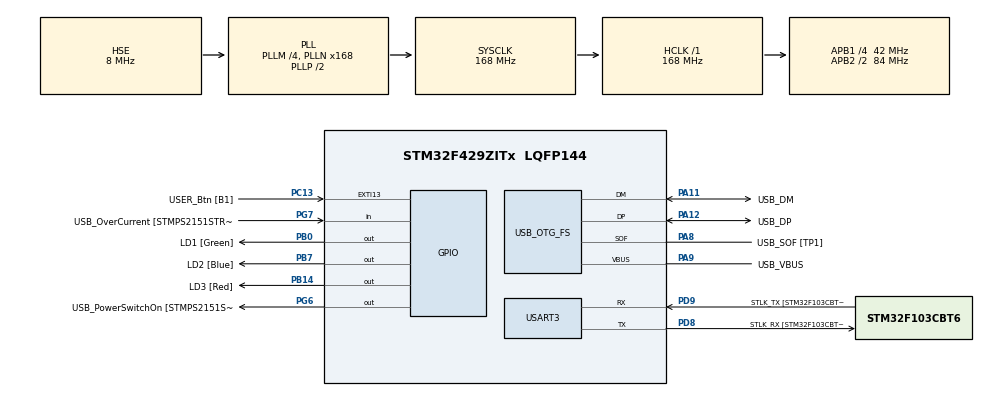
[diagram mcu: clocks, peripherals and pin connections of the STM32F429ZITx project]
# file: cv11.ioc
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Mcu.Family=STM32F4
Mcu.Name=STM32F429ZITx
Mcu.Package=LQFP144
NVIC.OTG_FS_IRQn=true\:0\:0\:false\:false\:true\:false\:true\:true
NVIC.PriorityGroup=NVIC_PRIORITYGROUP_4
PA1.GPIO_Label=RMII_REF_CLK [LAN8742A-CZ-TR_REFCLK0]
PA1.Signal=ETH_REF_CLK
PA10.GPIO_Label=USB_ID
PA10.Signal=USB_OTG_FS_ID
PA11.GPIO_Label=USB_DM
PA11.Mode=Device_Only
PA11.Signal=USB_OTG_FS_DM
PA12.GPIO_Label=USB_DP
PA12.Mode=Device_Only
PA12.Signal=USB_OTG_FS_DP
PA13.GPIO_Label=TMS
PA13.Mode=Serial_Wire
PA13.Signal=SYS_JTMS-SWDIO
PA14.GPIO_Label=TCK
PA14.Mode=Serial_Wire
PA14.Signal=SYS_JTCK-SWCLK
PA2.GPIO_Label=RMII_MDIO [LAN8742A-CZ-TR_MDIO]
PA2.Signal=ETH_MDIO
PA7.GPIO_Label=RMII_CRS_DV [LAN8742A-CZ-TR_CRS_DV]
PA7.Signal=ETH_CRS_DV
PA8.GPIO_Label=USB_SOF [TP1]
PA8.Mode=Activate_SOF_FS
PA8.Signal=USB_OTG_FS_SOF
PA9.GPIO_Label=USB_VBUS
PA9.Mode=Activate_VBUS
PA9.Signal=USB_OTG_FS_VBUS
PB0.GPIO_Label=LD1 [Green]
PB0.Signal=GPIO_Output
PB13.GPIO_Label=RMII_TXD1 [LAN8742A-CZ-TR_TXD1]
PB13.Signal=ETH_TXD1
PB14.GPIO_Label=LD3 [Red]
PB14.Signal=GPIO_Output
PB7.GPIO_Label=LD2 [Blue]
PB7.Signal=GPIO_Output
PC1.GPIO_Label=RMII_MDC [LAN8742A-CZ-TR_MDC]
PC1.Signal=ETH_MDC
PC13.GPIO_Label=USER_Btn [B1]
PC13.Signal=GPXTI13
PC14/OSC32_IN.Mode=LSE-External-Oscillator
PC14/OSC32_IN.Signal=RCC_OSC32_IN
PC15/OSC32_OUT.Mode=LSE-External-Oscillator
PC15/OSC32_OUT.Signal=RCC_OSC32_OUT
PC4.GPIO_Label=RMII_RXD0 [LAN8742A-CZ-TR_RXD0]
PC4.Signal=ETH_RXD0
PC5.GPIO_Label=RMII_RXD1 [LAN8742A-CZ-TR_RXD1]
PC5.Signal=ETH_RXD1
PD8.GPIO_Label=STLK_RX [STM32F103CBT6_PA3]
PD8.Mode=Asynchronous
PD8.Signal=USART3_TX
PD9.GPIO_Label=STLK_TX [STM32F103CBT6_PA2]
PD9.Mode=Asynchronous
PD9.Signal=USART3_RX
PG11.GPIO_Label=RMII_TX_EN [LAN8742A-CZ-TR_TXEN]
PG11.Signal=ETH_TX_EN
PG13.GPIO_Label=RMII_TXD0 [LAN8742A-CZ-TR_TXD0]
PG13.Signal=ETH_TXD0
PG6.GPIO_Label=USB_PowerSwitchOn [STMPS2151STR_EN]
PG6.Signal=GPIO_Output
PG7.GPIO_Label=USB_OverCurrent [STMPS2151STR_FAULT]
PG7.Signal=GPIO_Input
PH0/OSC_IN.GPIO_Label=MCO [STM32F103CBT6_PA8]
PH0/OSC_IN.Mode=HSE-External-Clock-Source
PH0/OSC_IN.Signal=RCC_OSC_IN
PH1/OSC_OUT.Mode=HSE-External-Clock-Source
PH1/OSC_OUT.Signal=RCC_OSC_OUT
ProjectManager.HeapSize=0x200
ProjectManager.StackSize=0x400
ProjectManager.TargetToolchain=STM32CubeIDE
RCC.48MHZClocksFreq_Value=48000000
RCC.AHBFreq_Value=168000000
RCC.APB1CLKDivider=RCC_HCLK_DIV4
RCC.APB1Freq_Value=42000000
RCC.APB1TimFreq_Value=84000000
RCC.APB2CLKDivider=RCC_HCLK_DIV2
RCC.APB2Freq_Value=84000000
RCC.APB2TimCLKDivider=2
RCC.APB2TimFreq_Value=168000000
RCC.CortexFreq_Value=168000000
RCC.HCLKFreq_Value=168000000
RCC.HSE_VALUE=8000000
RCC.HSI_VALUE=16000000
RCC.PLLM=4
RCC.PLLMUL=RCC_PLL_MUL9
RCC.PLLN=168
RCC.PLLQ=7
RCC.PRESCALERUSB=RCC_USBCLKSOURCE_PLL_DIV1_5
RCC.SYSCLKFreq_VALUE=168000000
RCC.SYSCLKSource=RCC_SYSCLKSOURCE_PLLCLK
RCC.SYSCLKSourceVirtual=RCC_SYSCLKSOURCE_PLLCLK
RCC.USBFreq_Value=48000000
RCC.VCOOutputFreq_Value=336000000
USART3.VirtualMode=VM_ASYNC
USB_DEVICE.CLASS_NAME_FS=HID
USB_DEVICE.VirtualMode-HID_FS=Hid
USB_DEVICE.VirtualModeFS=Hid_FS
USB_OTG_FS.VirtualMode=Device_Only
VP_USB_DEVICE_VS_USB_DEVICE_HID_FS.Mode=HID_FS
board=NUCLEO-F429ZI

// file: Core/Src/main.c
/* USER CODE BEGIN Header */
/**
  ******************************************************************************
  * @file           : main.c
  * @brief          : Main program body
  ******************************************************************************
  * @attention
  *
  * Copyright (c) 2023 STMicroelectronics.
  * All rights reserved.
  *
  * This software is licensed under terms that can be found in the LICENSE file
  * in the root directory of this software component.
  * If no LICENSE file comes with this software, it is provided AS-IS.
  *
  ******************************************************************************
  */
/* USER CODE END Header */
#include "main.h"
#include "usb_device.h"

/* USER CODE BEGIN Includes */
#include "usbd_hid.h"
#include "math.h"
#include "stdbool.h"

/* USER CODE END Includes */

/* USER CODE BEGIN PD */
//#define PI_MOJE 3.1415926

/* USER CODE END PD */

UART_HandleTypeDef huart3;

/* USER CODE BEGIN PV */
extern USBD_HandleTypeDef hUsbDeviceFS;

/* USER CODE END PV */

void SystemClock_Config(void);
static void MX_GPIO_Init(void);
static void MX_USART3_UART_Init(void);

/* USER CODE BEGIN 0 */
void send_mouse(int8_t deltaX, int8_t deltaY, int8_t tlac){
	uint8_t buff[4];
	if (tlac == 1){
		buff[0] = 0x01; // stiskni leve tlacitko
	}
	else {
		buff[0] = 0x00;
	}
	buff[1] = deltaX; // posun X +10
	buff[2] = deltaY; // posun Y -3
	buff[3] = 0; // bez scrollu
	USBD_HID_SendReport(&hUsbDeviceFS, buff, sizeof(buff));
	HAL_Delay(USBD_HID_GetPollingInterval(&hUsbDeviceFS));
}

void circle(uint32_t radius, uint32_t start, uint32_t stop){
	uint32_t step = 50;
	float y, x;
	uint32_t sx, sy, dx, dy;
	sx = radius;
	sy = 0;

	for (uint8_t i = start; i <= stop; i++){
		float phi = 2*M_PI*i/step;
		y = radius*sinf(phi);
		x = radius*cosf(phi);
		dx = x - sx;
		dy = y - sy;
		send_mouse(dx, dy, 1);
		sx += dx;
		sy += dy;
//			send_mouse(x, y);
		send_mouse(x, y, 0);
	}
}

/* USER CODE END 0 */

int main(void)
{

  /* MCU Configuration--------------------------------------------------------*/

  /* Reset of all peripherals, Initializes the Flash interface and the Systick. */

	HAL_Init();

  /* Configure the system clock */
  SystemClock_Config();

  /* Initialize all configured peripherals */
  MX_GPIO_Init();
  MX_USART3_UART_Init();
  MX_USB_DEVICE_Init();

  /* Infinite loop */
  while (1)
  {
	  if (HAL_GPIO_ReadPin(USER_Btn_GPIO_Port, USER_Btn_Pin)){
		  circle(10, 0, 50); //velky kolo
		  send_mouse(15, 15, 0);
		  circle(3, 0, 50); //pravz oko
		  send_mouse(-40, 0, 0);
		  circle(3, 0, 50); //levz oko
		  send_mouse(20, -20, 0);
		  send_mouse(0, 25, 1); //nosik
		  send_mouse(0, 25, 0);
		  send_mouse(20, 10, 0);
		  circle(8, 20, 30); //pussik
	  }

  }
}

void SystemClock_Config(void)
{
  RCC_OscInitTypeDef RCC_OscInitStruct = {0};
  RCC_ClkInitTypeDef RCC_ClkInitStruct = {0};

  /** Configure the main internal regulator output voltage
  */
  __HAL_RCC_PWR_CLK_ENABLE();
  __HAL_PWR_VOLTAGESCALING_CONFIG(PWR_REGULATOR_VOLTAGE_SCALE1);

  /** Initializes the RCC Oscillators according to the specified parameters
  * in the RCC_OscInitTypeDef structure.
  */
  RCC_OscInitStruct.OscillatorType = RCC_OSCILLATORTYPE_HSE;
  RCC_OscInitStruct.HSEState = RCC_HSE_BYPASS;
  RCC_OscInitStruct.PLL.PLLState = RCC_PLL_ON;
  RCC_OscInitStruct.PLL.PLLSource = RCC_PLLSOURCE_HSE;
  RCC_OscInitStruct.PLL.PLLM = 4;
  RCC_OscInitStruct.PLL.PLLN = 168;
  RCC_OscInitStruct.PLL.PLLP = RCC_PLLP_DIV2;
  RCC_OscInitStruct.PLL.PLLQ = 7;
  if (HAL_RCC_OscConfig(&RCC_OscInitStruct) != HAL_OK)
  {
    Error_Handler();
  }

  /** Initializes the CPU, AHB and APB buses clocks
  */
  RCC_ClkInitStruct.ClockType = RCC_CLOCKTYPE_HCLK|RCC_CLOCKTYPE_SYSCLK
                              |RCC_CLOCKTYPE_PCLK1|RCC_CLOCKTYPE_PCLK2;
  RCC_ClkInitStruct.SYSCLKSource = RCC_SYSCLKSOURCE_PLLCLK;
  RCC_ClkInitStruct.AHBCLKDivider = RCC_SYSCLK_DIV1;
  RCC_ClkInitStruct.APB1CLKDivider = RCC_HCLK_DIV4;
  RCC_ClkInitStruct.APB2CLKDivider = RCC_HCLK_DIV2;

  if (HAL_RCC_ClockConfig(&RCC_ClkInitStruct, FLASH_LATENCY_5) != HAL_OK)
  {
    Error_Handler();
  }
}

static void MX_USART3_UART_Init(void)
{

  huart3.Instance = USART3;
  huart3.Init.BaudRate = 115200;
  huart3.Init.WordLength = UART_WORDLENGTH_8B;
  huart3.Init.StopBits = UART_STOPBITS_1;
  huart3.Init.Parity = UART_PARITY_NONE;
  huart3.Init.Mode = UART_MODE_TX_RX;
  huart3.Init.HwFlowCtl = UART_HWCONTROL_NONE;
  huart3.Init.OverSampling = UART_OVERSAMPLING_16;
  if (HAL_UART_Init(&huart3) != HAL_OK)
  {
    Error_Handler();
  }

}

static void MX_GPIO_Init(void)
{
  GPIO_InitTypeDef GPIO_InitStruct = {0};

  /* GPIO Ports Clock Enable */
  __HAL_RCC_GPIOC_CLK_ENABLE();
  __HAL_RCC_GPIOH_CLK_ENABLE();
  __HAL_RCC_GPIOA_CLK_ENABLE();
  __HAL_RCC_GPIOB_CLK_ENABLE();
  __HAL_RCC_GPIOD_CLK_ENABLE();
  __HAL_RCC_GPIOG_CLK_ENABLE();

  /*Configure GPIO pin Output Level */
  HAL_GPIO_WritePin(GPIOB, LD1_Pin|LD3_Pin|LD2_Pin, GPIO_PIN_RESET);

  /*Configure GPIO pin Output Level */
  HAL_GPIO_WritePin(USB_PowerSwitchOn_GPIO_Port, USB_PowerSwitchOn_Pin, GPIO_PIN_RESET);

  /*Configure GPIO pin : USER_Btn_Pin */
  GPIO_InitStruct.Pin = USER_Btn_Pin;
  GPIO_InitStruct.Mode = GPIO_MODE_IT_RISING;
  GPIO_InitStruct.Pull = GPIO_NOPULL;
  HAL_GPIO_Init(USER_Btn_GPIO_Port, &GPIO_InitStruct);

  /*Configure GPIO pins : RMII_MDC_Pin RMII_RXD0_Pin RMII_RXD1_Pin */
  GPIO_InitStruct.Pin = RMII_MDC_Pin|RMII_RXD0_Pin|RMII_RXD1_Pin;
  GPIO_InitStruct.Mode = GPIO_MODE_AF_PP;
  GPIO_InitStruct.Pull = GPIO_NOPULL;
  GPIO_InitStruct.Speed = GPIO_SPEED_FREQ_VERY_HIGH;
  GPIO_InitStruct.Alternate = GPIO_AF11_ETH;
  HAL_GPIO_Init(GPIOC, &GPIO_InitStruct);

  /*Configure GPIO pins : RMII_REF_CLK_Pin RMII_MDIO_Pin RMII_CRS_DV_Pin */
  GPIO_InitStruct.Pin = RMII_REF_CLK_Pin|RMII_MDIO_Pin|RMII_CRS_DV_Pin;
  GPIO_InitStruct.Mode = GPIO_MODE_AF_PP;
  GPIO_InitStruct.Pull = GPIO_NOPULL;
  GPIO_InitStruct.Speed = GPIO_SPEED_FREQ_VERY_HIGH;
  GPIO_InitStruct.Alternate = GPIO_AF11_ETH;
  HAL_GPIO_Init(GPIOA, &GPIO_InitStruct);

  /*Configure GPIO pins : LD1_Pin LD3_Pin LD2_Pin */
  GPIO_InitStruct.Pin = LD1_Pin|LD3_Pin|LD2_Pin;
  GPIO_InitStruct.Mode = GPIO_MODE_OUTPUT_PP;
  GPIO_InitStruct.Pull = GPIO_NOPULL;
  GPIO_InitStruct.Speed = GPIO_SPEED_FREQ_LOW;
  HAL_GPIO_Init(GPIOB, &GPIO_InitStruct);

  /*Configure GPIO pin : RMII_TXD1_Pin */
  GPIO_InitStruct.Pin = RMII_TXD1_Pin;
  GPIO_InitStruct.Mode = GPIO_MODE_AF_PP;
  GPIO_InitStruct.Pull = GPIO_NOPULL;
  GPIO_InitStruct.Speed = GPIO_SPEED_FREQ_VERY_HIGH;
  GPIO_InitStruct.Alternate = GPIO_AF11_ETH;
  HAL_GPIO_Init(RMII_TXD1_GPIO_Port, &GPIO_InitStruct);

  /*Configure GPIO pin : USB_PowerSwitchOn_Pin */
  GPIO_InitStruct.Pin = USB_PowerSwitchOn_Pin;
  GPIO_InitStruct.Mode = GPIO_MODE_OUTPUT_PP;
  GPIO_InitStruct.Pull = GPIO_NOPULL;
  GPIO_InitStruct.Speed = GPIO_SPEED_FREQ_LOW;
  HAL_GPIO_Init(USB_PowerSwitchOn_GPIO_Port, &GPIO_InitStruct);

  /*Configure GPIO pin : USB_OverCurrent_Pin */
  GPIO_InitStruct.Pin = USB_OverCurrent_Pin;
  GPIO_InitStruct.Mode = GPIO_MODE_INPUT;
  GPIO_InitStruct.Pull = GPIO_NOPULL;
  HAL_GPIO_Init(USB_OverCurrent_GPIO_Port, &GPIO_InitStruct);

  /*Configure GPIO pins : RMII_TX_EN_Pin RMII_TXD0_Pin */
  GPIO_InitStruct.Pin = RMII_TX_EN_Pin|RMII_TXD0_Pin;
  GPIO_InitStruct.Mode = GPIO_MODE_AF_PP;
  GPIO_InitStruct.Pull = GPIO_NOPULL;
  GPIO_InitStruct.Speed = GPIO_SPEED_FREQ_VERY_HIGH;
  GPIO_InitStruct.Alternate = GPIO_AF11_ETH;
  HAL_GPIO_Init(GPIOG, &GPIO_InitStruct);

}

void Error_Handler(void)
{
  __disable_irq();
  while (1)
  {
  }
}
